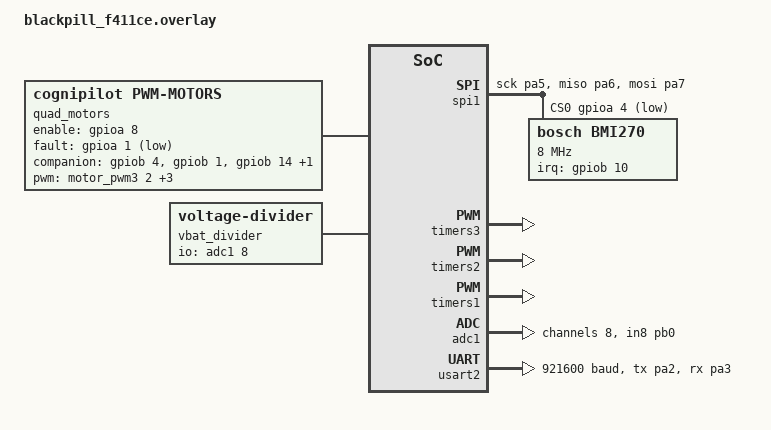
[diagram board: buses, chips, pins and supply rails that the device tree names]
/* SPDX-License-Identifier: Apache-2.0
 *
 * Micro-quad carrier for the WeAct Black Pill F411CE (schematic rev 3,
 * verified against the traced KiCad netlist 2026-08-11).
 *
 * BMI270 on SPI1, ESP32-C3 WiFi bridge on USART2, four brushed DC motors
 * through two DRV8833 H-bridges spanning TIM3/TIM2/TIM1, shared NSLEEP on
 * PA8, shared open-drain FAULT on PA1, battery divider on PB0.
 *
 * This overlay is the single place that says WHICH sensors/actuators are
 * connected and WHERE. The application only consumes the aliases below;
 * driver enablement and tuning live in blackpill_f411ce.conf.
 *
 * Pin budget:
 *   PA4  SPI1 CS      - BMI270 chip select (GPIO, active low)
 *   PA5/PA6/PA7 SPI1  - BMI270 SCK/MISO/MOSI
 *   PB10 EXTI         - BMI270 INT1 (data-ready, paces the rate loop)
 *   PB5  TIM3_CH2     - M1 PWM (U4 IN4)   PB4  GPIO low - companion (U4 IN3)
 *   PB3  TIM2_CH2     - M2 PWM (U4 IN2)   PB1  GPIO low - companion (U4 IN1)
 *   PB15 TIM1_CH3N    - M3 PWM (U5 IN4)   PB14 GPIO low - companion (U5 IN3)
 *   PB13 TIM1_CH1N    - M4 PWM (U5 IN2)   PB12 GPIO low - companion (U5 IN1)
 *   PA8  GPIO         - DRV8833 NSLEEP (both drivers)
 *   PA1  GPIO in      - DRV8833 FAULT (open drain, 10k pull-up)
 *   PB0  ADC1_IN8     - battery divider (100k / 100k, filtered)
 *   PA2/PA3 USART2    - ESP32-C3 WiFi bridge (synapse serial at 921600)
 *   PA9/PA10 USART1   - console/shell (on the module's own header)
 *   PA11/PA12 USB     - free (module USB-C usable)
 *   PB2  BOOT1        - unused (kept clear of the motor bank)
 *   PB6/PB7 I2C1      - free, labeled SCL/SDA for expansion
 */

#include <zephyr/dt-bindings/adc/adc.h>
#include <zephyr/dt-bindings/pwm/pwm.h>
#include <zephyr/dt-bindings/pwm/stm32_pwm.h>

/ {
	aliases {
		imu0 = &bmi270;
		rc = &synapse_rc0;
		motors = &quad_motors;
		vbat = &vbat_divider;
		zros-serial = &usart2;
		/* no gnss: indoor micro quad, fix injectable over telemetry */
	};

	/* RC arrives as ManualControl frames on the same synapse serial link
	 * that carries telemetry (CONFIG_RDD2_RC_SYNAPSE); this virtual
	 * device is what rc_input.c listens to. */
	synapse_rc0: synapse_rc {
		compatible = "cognipilot,synapse-rc";
		status = "okay";
	};

	/* Mixer order m1..m4. 20 kHz keeps brushed drive above audible and
	 * gives ~4800 counts of resolution at the 96 MHz timer clock. The
	 * TIM1 outputs are on complementary CHxN pins, hence the flag. */
	quad_motors: quad_motors {
		compatible = "cognipilot,pwm-motors";
		pwms = <&motor_pwm3 2 PWM_KHZ(20) PWM_POLARITY_NORMAL>,
		       <&motor_pwm2 2 PWM_KHZ(20) PWM_POLARITY_NORMAL>,
		       <&motor_pwm1 3 PWM_KHZ(20) STM32_PWM_COMPLEMENTARY>,
		       <&motor_pwm1 1 PWM_KHZ(20) STM32_PWM_COMPLEMENTARY>;
		enable-gpios = <&gpioa 8 GPIO_ACTIVE_HIGH>;
		fault-gpios = <&gpioa 1 GPIO_ACTIVE_LOW>;
		/* H-bridge partner inputs, held physically low (fast decay). */
		companion-gpios = <&gpiob 4 GPIO_ACTIVE_HIGH>,
				  <&gpiob 1 GPIO_ACTIVE_HIGH>,
				  <&gpiob 14 GPIO_ACTIVE_HIGH>,
				  <&gpiob 12 GPIO_ACTIVE_HIGH>;
	};

	vbat_divider: vbat_divider {
		compatible = "voltage-divider";
		io-channels = <&adc1 8>;
		full-ohms = <200000>;
		output-ohms = <100000>;
	};
};

/* IMU: BMI270, SPI mode, CS as GPIO. The data-ready interrupt on PB5 paces
 * the control loop through the trigger backend (CONFIG_RDD2_IMU_TRIGGER). */
&spi1 {
	status = "okay";
	pinctrl-0 = <&spi1_sck_pa5 &spi1_miso_pa6 &spi1_mosi_pa7>;
	pinctrl-names = "default";
	cs-gpios = <&gpioa 4 GPIO_ACTIVE_LOW>;

	bmi270: bmi270@0 {
		compatible = "bosch,bmi270";
		reg = <0>;
		spi-max-frequency = <8000000>;
		irq-gpios = <&gpiob 10 GPIO_ACTIVE_HIGH>;
	};
};

&timers3 {
	status = "okay";
	st,prescaler = <0>;

	motor_pwm3: pwm {
		status = "okay";
		pinctrl-0 = <&tim3_ch2_pb5>;
		pinctrl-names = "default";
	};
};

&timers2 {
	status = "okay";
	st,prescaler = <0>;

	motor_pwm2: pwm {
		status = "okay";
		pinctrl-0 = <&tim2_ch2_pb3>;
		pinctrl-names = "default";
	};
};

&timers1 {
	status = "okay";
	st,prescaler = <0>;

	motor_pwm1: pwm {
		status = "okay";
		pinctrl-0 = <&tim1_ch1n_pb13 &tim1_ch3n_pb15>;
		pinctrl-names = "default";
	};
};

&adc1 {
	status = "okay";
	pinctrl-0 = <&adc1_in8_pb0>;
	pinctrl-names = "default";
	st,adc-clock-source = "SYNC";
	st,adc-prescaler = <4>;
	#address-cells = <1>;
	#size-cells = <0>;

	channel@8 {
		reg = <8>;
		zephyr,gain = "ADC_GAIN_1";
		zephyr,reference = "ADC_REF_INTERNAL";
		zephyr,acquisition-time = <ADC_ACQ_TIME_DEFAULT>;
		zephyr,resolution = <12>;
	};
};

/* The ESP32-C3 WiFi bridge on USART2 carries the synapse serial framing
 * both ways: telemetry topics out, ManualControl (RC) and injected fixes
 * in. The ESP32 is a transparent UART<->UDP bridge and never parses this. */
&usart2 {
	status = "okay";
	pinctrl-0 = <&usart2_tx_pa2 &usart2_rx_pa3>;
	pinctrl-names = "default";
	current-speed = <921600>;
};
